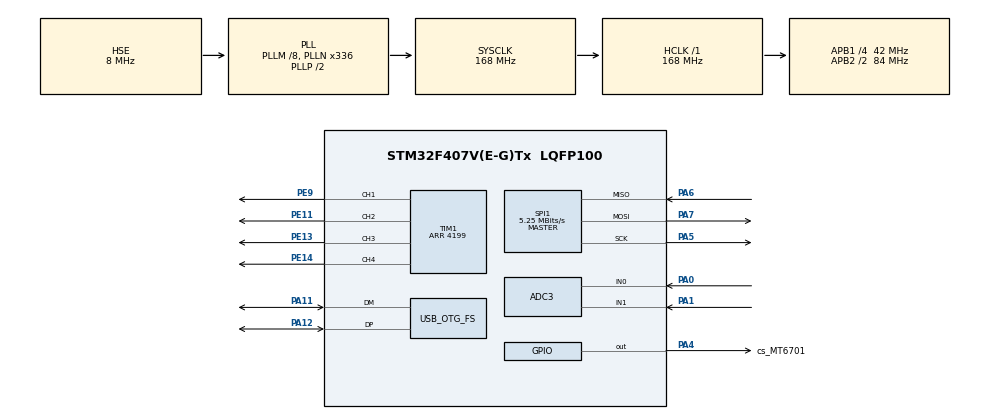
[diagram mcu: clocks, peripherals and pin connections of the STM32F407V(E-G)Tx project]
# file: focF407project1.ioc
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ADC3.Channel-0\#ChannelRegularConversion=ADC_CHANNEL_0
ADC3.Channel-1\#ChannelRegularConversion=ADC_CHANNEL_1
ADC3.DMAContinuousRequests=ENABLE
ADC3.DiscontinuousConvMode=DISABLE
ADC3.ExternalTrigConv=ADC_EXTERNALTRIGCONV_T2_TRGO
ADC3.NbrOfConversion=2
ADC3.NbrOfConversionFlag=1
ADC3.Rank-0\#ChannelRegularConversion=1
ADC3.Rank-1\#ChannelRegularConversion=2
ADC3.SamplingTime-0\#ChannelRegularConversion=ADC_SAMPLETIME_15CYCLES
ADC3.SamplingTime-1\#ChannelRegularConversion=ADC_SAMPLETIME_15CYCLES
ADC3.ScanConvMode=ENABLE
Dma.ADC3.0.Direction=DMA_PERIPH_TO_MEMORY
Dma.ADC3.0.FIFOMode=DMA_FIFOMODE_DISABLE
Dma.ADC3.0.Instance=DMA2_Stream0
Dma.ADC3.0.MemDataAlignment=DMA_MDATAALIGN_HALFWORD
Dma.ADC3.0.MemInc=DMA_MINC_ENABLE
Dma.ADC3.0.Mode=DMA_CIRCULAR
Dma.ADC3.0.PeriphDataAlignment=DMA_PDATAALIGN_HALFWORD
Dma.ADC3.0.PeriphInc=DMA_PINC_DISABLE
Dma.ADC3.0.Priority=DMA_PRIORITY_LOW
Dma.Request0=ADC3
Mcu.Family=STM32F4
Mcu.Name=STM32F407V(E-G)Tx
Mcu.Package=LQFP100
NVIC.DMA2_Stream0_IRQn=true\:0\:0\:false\:false\:true\:false\:true\:true
NVIC.OTG_FS_IRQn=true\:0\:0\:false\:false\:true\:false\:true\:true
NVIC.PriorityGroup=NVIC_PRIORITYGROUP_4
PA0-WKUP.Signal=ADCx_IN0
PA1.Signal=ADCx_IN1
PA11.Mode=Device_Only
PA11.Signal=USB_OTG_FS_DM
PA12.Mode=Device_Only
PA12.Signal=USB_OTG_FS_DP
PA13.Mode=Serial_Wire
PA13.Signal=SYS_JTMS-SWDIO
PA14.Mode=Serial_Wire
PA14.Signal=SYS_JTCK-SWCLK
PA4.GPIO_Label=cs_MT6701
PA4.PinState=GPIO_PIN_SET
PA4.Signal=GPIO_Output
PA5.Mode=Full_Duplex_Master
PA5.Signal=SPI1_SCK
PA6.Mode=Full_Duplex_Master
PA6.Signal=SPI1_MISO
PA7.Mode=Full_Duplex_Master
PA7.Signal=SPI1_MOSI
PE11.Signal=S_TIM1_CH2
PE13.Signal=S_TIM1_CH3
PE14.Signal=S_TIM1_CH4
PE9.Signal=S_TIM1_CH1
PH0-OSC_IN.Mode=HSE-External-Oscillator
PH0-OSC_IN.Signal=RCC_OSC_IN
PH1-OSC_OUT.Mode=HSE-External-Oscillator
PH1-OSC_OUT.Signal=RCC_OSC_OUT
ProjectManager.HeapSize=0x200
ProjectManager.StackSize=0x400
ProjectManager.TargetToolchain=MDK-ARM V5.32
RCC.48MHZClocksFreq_Value=48000000
RCC.AHBFreq_Value=168000000
RCC.APB1CLKDivider=RCC_HCLK_DIV4
RCC.APB1Freq_Value=42000000
RCC.APB1TimFreq_Value=84000000
RCC.APB2CLKDivider=RCC_HCLK_DIV2
RCC.APB2Freq_Value=84000000
RCC.APB2TimFreq_Value=168000000
RCC.CortexFreq_Value=168000000
RCC.HCLKFreq_Value=168000000
RCC.HSE_VALUE=8000000
RCC.HSI_VALUE=16000000
RCC.LSE_VALUE=32768
RCC.PLLM=8
RCC.PLLN=336
RCC.PLLQ=7
RCC.SYSCLKFreq_VALUE=168000000
RCC.SYSCLKSource=RCC_SYSCLKSOURCE_PLLCLK
RCC.VCOOutputFreq_Value=336000000
SH.ADCx_IN0.0=ADC3_IN0,IN0
SH.ADCx_IN1.0=ADC3_IN1,IN1
SH.S_TIM1_CH1.0=TIM1_CH1,PWM Generation1 CH1
SH.S_TIM1_CH2.0=TIM1_CH2,PWM Generation2 CH2
SH.S_TIM1_CH3.0=TIM1_CH3,PWM Generation3 CH3
SH.S_TIM1_CH4.0=TIM1_CH4,PWM Generation4 CH4
SPI1.BaudRatePrescaler=SPI_BAUDRATEPRESCALER_16
SPI1.CalculateBaudRate=5.25 MBits/s
SPI1.Direction=SPI_DIRECTION_2LINES
SPI1.Mode=SPI_MODE_MASTER
SPI1.VirtualType=VM_MASTER
TIM1.AutomaticOutput=TIM_AUTOMATICOUTPUT_ENABLE
TIM1.Channel-PWM\ Generation1\ CH1=TIM_CHANNEL_1
TIM1.Channel-PWM\ Generation2\ CH2=TIM_CHANNEL_2
TIM1.Channel-PWM\ Generation3\ CH3=TIM_CHANNEL_3
TIM1.Channel-PWM\ Generation4\ CH4=TIM_CHANNEL_4
TIM1.CounterMode=TIM_COUNTERMODE_CENTERALIGNED1
TIM1.OCMode_PWM-PWM\ Generation4\ CH4=TIM_OCMODE_PWM2
TIM1.OffStateIDLEMode=TIM_OSSI_ENABLE
TIM1.OffStateRunMode=TIM_OSSR_ENABLE
TIM1.Period=4199
TIM1.Pulse-PWM\ Generation1\ CH1=2100
TIM1.Pulse-PWM\ Generation2\ CH2=2100
TIM1.Pulse-PWM\ Generation4\ CH4=3800
TIM1.RepetitionCounter=1
TIM1.TIM_MasterOutputTrigger=TIM_TRGO_OC4REF
TIM2.Period=3799
TIM2.TIM_MasterOutputTrigger=TIM_TRGO_UPDATE
USB_DEVICE.CLASS_NAME_FS=CDC
USB_DEVICE.VirtualMode-CDC_FS=Cdc
USB_DEVICE.VirtualModeFS=Cdc_FS
USB_OTG_FS.VirtualMode=Device_Only
VP_TIM2_VS_ClockSourceINT.Mode=Internal
VP_TIM2_VS_ClockSourceITR.Mode=TriggerSource_ITR0
VP_TIM2_VS_ControllerModeTrigger.Mode=Trigger Mode
VP_TIM2_VS_OPM.Mode=OPM_bit
VP_USB_DEVICE_VS_USB_DEVICE_CDC_FS.Mode=CDC_FS
board=custom

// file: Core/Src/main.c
/* USER CODE BEGIN Header */

/* USER CODE END Header */

#include "main.h"
#include "usb_device.h"

/* USER CODE BEGIN Includes */
#include "foc.h"
#include "Vofa.h"
#include "encoder.h"
#include "ADCcurrent.h"
#include "cascade.h"
#include "phase_map_diag.h"
#include "angle_lock_diag.h"
#include "speed_diag_channels.h"
#include <math.h>

/* USER CODE END Includes */

/* USER CODE BEGIN PD */

#define ENC_TEST_MODE        0

/* 旧版：#define PHASE_MAP_TEST_MODE 1，PWM与电流采样相序已经确认正确。 */
#define PHASE_MAP_TEST_MODE  0

/* 旧版：#define ANGLE_LOCK_TEST_MODE 1，四点锁定已确认极对数和方向正确。 */
#define ANGLE_LOCK_TEST_MODE 0

#define USE_CASCADE_LOOP     1

/* 旧版：#define USE_SPEED_CURRENT_LOOP 0，用于0.40A纯电流1秒测试。 */
#define USE_SPEED_CURRENT_LOOP 0

/* 旧版：#define USE_CURRENT_LOOP 1，用于0.40A纯电流1秒测试。 */
#define USE_CURRENT_LOOP     0
#define USE_SPEED_LOOP       0
#define USE_POSITION_LOOP    0

#define TARGET_ANGLE_DEG     300.0f
#define DEG_TO_RAD           0.0174533f

#define TARGET_ID             0.0f

/* 旧版：#define TARGET_IQ 0.35f */
#define TARGET_IQ             0.44f
#define CURRENT_TEST_TIMEOUT_TICKS 20000U

/* 旧版：#define TARGET_SPEED 1.0f，低速摩擦和速度估算影响明显。 */
#define TARGET_SPEED          15.0f
#define TARGET_ANGLE          5.70f

/* 旧版：#define SPEED_RAMP_ENABLE 1，会先经过1rad/s和2rad/s。 */
#define SPEED_RAMP_ENABLE     0

#define SPEED_RAMP_STEP       1.0f
#define SPEED_RAMP_INTERVAL   500U

#define VOFA_PERIOD_MS        5U
#define VOFA_USE_TEXT         0

#define OFFSET_STEP           0.04f
#define OFFSET_INTERVAL       100U
#define CAL_VOLTAGE_START     0.10f
#define CAL_VOLTAGE_STEP      0.05f
#define CAL_VOLTAGE_MAX       1.50f
#define CAL_VOLTAGE_INTERVAL  500U
#define MOVE_THRESHOLD        0.05f

#define CURRENT_TEST_MODE    1

#define CURRENT_ZERO_VOLT    1.65f

#define CURRENT_V_PER_AMP    0.5f

#define POSITION_SWEEP        0

/* USER CODE END PD */

ADC_HandleTypeDef hadc3;
DMA_HandleTypeDef hdma_adc3;

SPI_HandleTypeDef hspi1;

TIM_HandleTypeDef htim1;
TIM_HandleTypeDef htim2;

/* USER CODE BEGIN PV */

/* 旧版相序诊断状态保留，仅在重新启用该模式时参与编译。 */
#if PHASE_MAP_TEST_MODE
static uint32_t g_phase_map_start_tick = 0U;
static phase_map_diag_output_t g_phase_map_output;
#endif
/* 旧版角度锁定诊断状态保留，仅在重新启用该模式时参与编译。 */
#if ANGLE_LOCK_TEST_MODE
static uint32_t g_angle_lock_start_tick = 0U;
static angle_lock_diag_output_t g_angle_lock_output;
#endif

/*
 * 旧版：volatile float g_target_speed = 0.0f;
 * 问题：关闭速度阶梯后仍要等500ms才设定目标，对齐后会中断转矩。
 * 新版：关闭阶梯时上电直接使用TARGET_SPEED。
 */
#if SPEED_RAMP_ENABLE == 0
volatile float g_target_speed = TARGET_SPEED;
#else
volatile float g_target_speed = 0.0f;
#endif
volatile float g_target_angle = TARGET_ANGLE;
volatile float g_cal_voltage  = CAL_VOLTAGE_START;
volatile float g_cal_offset   = 0.0f;
/* USER CODE END PV */

void SystemClock_Config(void);
static void MX_GPIO_Init(void);
static void MX_DMA_Init(void);
static void MX_TIM1_Init(void);
static void MX_SPI1_Init(void);
static void MX_ADC3_Init(void);
static void MX_TIM2_Init(void);

int main(void)
{

  HAL_Init();

  SystemClock_Config();

  MX_GPIO_Init();
  MX_DMA_Init();
  MX_TIM1_Init();
  MX_USB_DEVICE_Init();
  MX_SPI1_Init();
  MX_ADC3_Init();
  MX_TIM2_Init();
  /* USER CODE BEGIN 2 */

  HAL_TIM_Base_Start(&htim1);

  HAL_TIM_Base_Start(&htim2);

  current_calibrate();

  cascade_init();

#if ENC_TEST_MODE != 1
  HAL_TIM_PWM_Start(&htim1, TIM_CHANNEL_1);
  HAL_TIM_PWM_Start(&htim1, TIM_CHANNEL_2);
  HAL_TIM_PWM_Start(&htim1, TIM_CHANNEL_3);
#endif

  __HAL_TIM_SET_COMPARE(&htim1, TIM_CHANNEL_1, 2100);
  __HAL_TIM_SET_COMPARE(&htim1, TIM_CHANNEL_2, 2100);
  __HAL_TIM_SET_COMPARE(&htim1, TIM_CHANNEL_3, 2100);

  vofa_init();
  encoder_init();

#if PHASE_MAP_TEST_MODE
  /*
   * === 旧版：上电后立即执行FOC对齐和闭环准备 ===
   * 问题：相序诊断时闭环输出会覆盖低压短脉冲。
   * === 新版：诊断模式只初始化FOC状态，不对齐、不输出闭环 ===
   */
  foc_init();
  g_phase_map_start_tick = HAL_GetTick();
#elif ANGLE_LOCK_TEST_MODE
  /*
   * === 旧版：执行FOC对齐后进入速度电流环 ===
   * 问题：不能独立观察每增加90度电角度时的机械角变化。
   * === 新版：只初始化FOC，由主循环输出低压静态电角度 ===
   */
  foc_init();
  g_angle_lock_start_tick = HAL_GetTick();
#elif ENC_TEST_MODE == 0
  foc_init();
  foc_align();
  HAL_Delay(500);
#else

  foc_init();
#if ENC_TEST_MODE == 2

  foc_align();
  HAL_Delay(500);
#endif
#endif

#if (ENC_TEST_MODE != 1) && !PHASE_MAP_TEST_MODE && !ANGLE_LOCK_TEST_MODE
  HAL_NVIC_SetPriority(TIM1_UP_TIM10_IRQn, 1, 0);
  HAL_NVIC_EnableIRQ(TIM1_UP_TIM10_IRQn);
  __HAL_TIM_ENABLE_IT(&htim1, TIM_IT_UPDATE);
#endif

  /* USER CODE END 2 */

  while (1)
  {

    /* USER CODE BEGIN 3 */

#if PHASE_MAP_TEST_MODE
    g_phase_map_output = phase_map_diag_get_output(HAL_GetTick()
                                                 - g_phase_map_start_tick);
    __HAL_TIM_SET_COMPARE(&htim1, TIM_CHANNEL_1,
                          (uint32_t)(g_phase_map_output.duty_a * PWM_ARR));
    __HAL_TIM_SET_COMPARE(&htim1, TIM_CHANNEL_2,
                          (uint32_t)(g_phase_map_output.duty_b * PWM_ARR));
    __HAL_TIM_SET_COMPARE(&htim1, TIM_CHANNEL_3,
                          (uint32_t)(g_phase_map_output.duty_c * PWM_ARR));
#elif ANGLE_LOCK_TEST_MODE
    g_angle_lock_output = angle_lock_diag_get_output(HAL_GetTick()
                                                    - g_angle_lock_start_tick);
    if (g_angle_lock_output.active)
    {
      foc_static(g_angle_lock_output.target_angle,
                 g_angle_lock_output.voltage_q);
    }
    else
    {
      foc_stop();
    }
#endif

#if ENC_TEST_MODE == 0
    static uint32_t tick_ramp = 0;
    if (HAL_GetTick() - tick_ramp >= SPEED_RAMP_INTERVAL)
    {
      tick_ramp = HAL_GetTick();
      if (TARGET_SPEED >= 0.0f)
      {
      #if SPEED_RAMP_ENABLE == 0
  g_target_speed = TARGET_SPEED;
#else
  if (g_target_speed < TARGET_SPEED) { g_target_speed += SPEED_RAMP_STEP; }
        if (g_target_speed > TARGET_SPEED) { g_target_speed = TARGET_SPEED; }
#endif
      }
      else
      {
        if (g_target_speed > TARGET_SPEED) { g_target_speed -= SPEED_RAMP_STEP; }
        if (g_target_speed < TARGET_SPEED) { g_target_speed = TARGET_SPEED; }
      }
    }
#endif

/*
 * === 误插入版本（已弃用）===
 * 问题：此处位于VOFA数组声明之前，导致vofa_channel未定义。
 */

#if ENC_TEST_MODE == 3

    {
      static uint32_t tick_cal          = 0;
      static float    s_angle_start   = 0.0f;
      static uint8_t  s_first = 1;
      static uint8_t  s_moved        = 0;
      float    angle_now = encoder_read_mech();

      if (s_first)
      {
        s_angle_start   = angle_now;
        s_first = 0;
      }
      else
      {

        float delta = angle_now - s_angle_start;
        if (delta >  ENC_PI) { delta -= ENC_TWO_PI; }
        if (delta < -ENC_PI) { delta += ENC_TWO_PI; }

        if (delta > MOVE_THRESHOLD || delta < -MOVE_THRESHOLD)
        {
          s_moved = 1;
        }
      }

      if (!s_moved)
      {
        if (HAL_GetTick() - tick_cal >= CAL_VOLTAGE_INTERVAL)
        {
          tick_cal = HAL_GetTick();
          if (g_cal_voltage < CAL_VOLTAGE_MAX)
          {
            g_cal_voltage += CAL_VOLTAGE_STEP;
            if (g_cal_voltage > CAL_VOLTAGE_MAX) { g_cal_voltage = CAL_VOLTAGE_MAX; }
          }
        }
      }
    }
#endif

#if ENC_TEST_MODE == 4

    {
      static uint32_t tick_offset = 0;
      if (HAL_GetTick() - tick_offset >= OFFSET_INTERVAL)
      {
        tick_offset = HAL_GetTick();
        g_cal_offset += OFFSET_STEP;
        if (g_cal_offset >= ENC_TWO_PI) { g_cal_offset -= ENC_TWO_PI; }
        foc_set_offset_trim(g_cal_offset);
      }
    }
#endif

#if (ENC_TEST_MODE == 0) && USE_POSITION_LOOP

#if POSITION_SWEEP
    {
      static const float  s_targets[] = { 5.80f, 5.20f, 4.60f, 5.20f };
      static uint8_t      s_index     = 0;
      static uint32_t     tick_step      = 0;

      if (HAL_GetTick() - tick_step >= 2500U)
      {
        tick_step      = HAL_GetTick();
        s_index     = (uint8_t)((s_index + 1) % 4U);
        g_target_angle = s_targets[s_index];
      }
    }
#endif
#endif

    static uint32_t tick_vofa = 0;
    if (HAL_GetTick() - tick_vofa >= VOFA_PERIOD_MS)
    {
      tick_vofa = HAL_GetTick();

      float vofa_channel[7];

#if PHASE_MAP_TEST_MODE
      {
        float current_a;
        float current_b;
        float current_c;

        current_read(&current_a, &current_b, &current_c);

        vofa_channel[0] = (float)g_phase_map_output.step;
        vofa_channel[1] = current_a;
        vofa_channel[2] = current_b;
        vofa_channel[3] = current_c;
        vofa_channel[4] = g_phase_map_output.duty_a;
        vofa_channel[5] = g_phase_map_output.duty_b;
        vofa_channel[6] = g_phase_map_output.duty_c;
      }
#elif ANGLE_LOCK_TEST_MODE
      {
        float angle_mech;
        float measured_elec;

        /*
         * === 旧版：读取g_encoder_dbg.angle_mech（已弃用）===
         * 问题：角度锁定模式关闭了FOC中断，encoder_update()不再刷新该变量，
         *       导致CH2恒为0、CH3恒为偏移角。
         * === 新版：每个VOFA周期直接读取一次编码器 ===
         */
        /* 使用与闭环相同的突跳拒绝路径，再读取已接受的机械角。 */
        encoder_update();
        angle_mech = g_encoder_dbg.angle_mech;
        measured_elec = angle_lock_diag_measured_elec(angle_mech,
                                                       (float)FOC_POLE_PAIRS,
                                                       ENC_ELEC_DIR,
                                                       ENC_ELEC_OFFSET);

        vofa_channel[0] = (float)g_angle_lock_output.step;
        vofa_channel[1] = g_angle_lock_output.target_angle * 57.2957795f;
        vofa_channel[2] = angle_mech * 57.2957795f;
        vofa_channel[3] = measured_elec * 57.2957795f;
        /* 旧版读取调试缓存；断流后缓存仍保留最后一次占空比。 */
        vofa_channel[4] = (float)g_encoder_dbg.jump_reject_count;
        vofa_channel[5] = (float)__HAL_TIM_GET_COMPARE(&htim1, TIM_CHANNEL_2)
                        / PWM_ARR;
        vofa_channel[6] = (float)__HAL_TIM_GET_COMPARE(&htim1, TIM_CHANNEL_3)
                        / PWM_ARR;
      }
#elif ENC_TEST_MODE == 3

      {
        uint16_t raw_data    = encoder_read_raw();
        uint16_t angle_count  = (uint16_t)(raw_data >> ENC_ANGLE_SHIFT);
        float    angle_mech     = (float)angle_count * ENC_TWO_PI / ENC_COUNTS_PER_REV;
        float    angle     = angle_mech * (float)ENC_POLE_PAIRS * ENC_ELEC_DIR;
        float    offset_now;

        while (angle >= ENC_TWO_PI) { angle -= ENC_TWO_PI; }

        offset_now = FOC_ALIGN_THETA + ENC_HALF_PI - angle;
        while (offset_now <  0.0f)       { offset_now += ENC_TWO_PI; }
        while (offset_now >= ENC_TWO_PI) { offset_now -= ENC_TWO_PI; }

        vofa_channel[0] = g_cal_voltage;
        vofa_channel[1] = angle_mech;
        vofa_channel[2] = offset_now;
        vofa_channel[3] = (float)angle_count;
        vofa_channel[4] = 0.0f;
        vofa_channel[5] = 0.0f;
        vofa_channel[6] = 0.0f;
      }
#elif ENC_TEST_MODE == 4

      vofa_channel[0] = g_cal_offset;
      vofa_channel[1] = g_foc_dbg.angle_mech;
      vofa_channel[2] = g_foc_dbg.error_pos;
      vofa_channel[3] = g_foc_dbg.voltage_q;
      vofa_channel[4] = g_foc_dbg.duty_a;
      vofa_channel[5] = g_foc_dbg.duty_b;
      vofa_channel[6] = g_foc_dbg.duty_c;
#elif ENC_TEST_MODE != 0

      {
        uint16_t raw_data    = encoder_read_raw();
        uint16_t angle_count  = (uint16_t)(raw_data >> ENC_ANGLE_SHIFT);

        float    angle_mech = (float)angle_count * ENC_TWO_PI
                            / ENC_COUNTS_PER_REV * ENC_DIR;
        float    angle;
        float    offset_hint;

        while (angle_mech >= ENC_TWO_PI) { angle_mech -= ENC_TWO_PI; }
        while (angle_mech <  0.0f)       { angle_mech += ENC_TWO_PI; }

        angle = angle_mech * (float)ENC_POLE_PAIRS * ENC_ELEC_DIR;
        while (angle >= ENC_TWO_PI) { angle -= ENC_TWO_PI; }
        while (angle <  0.0f)       { angle += ENC_TWO_PI; }

        offset_hint = FOC_ALIGN_THETA + ENC_HALF_PI - angle;
        while (offset_hint <  0.0f)        { offset_hint += ENC_TWO_PI; }
        while (offset_hint >= ENC_TWO_PI)  { offset_hint -= ENC_TWO_PI; }

        vofa_channel[0] = angle_mech;
        vofa_channel[1] = angle;
        vofa_channel[2] = (float)raw_data;
        vofa_channel[3] = (float)angle_count;
        vofa_channel[4] = offset_hint;
        vofa_channel[5] = 0.0f;
        vofa_channel[6] = 0.0f;
      }
#else
#if USE_SPEED_LOOP

      vofa_channel[0] = g_foc_dbg.target;
      vofa_channel[1] = g_encoder_dbg.speed;
      vofa_channel[2] = g_foc_dbg.error_pos;
      vofa_channel[3] = g_foc_dbg.voltage_q;
      vofa_channel[4] = g_foc_dbg.duty_a;
      vofa_channel[5] = g_foc_dbg.duty_b;
      vofa_channel[6] = g_foc_dbg.duty_c;
#elif USE_POSITION_LOOP

      vofa_channel[0] = g_foc_dbg.target;
      vofa_channel[1] = g_foc_dbg.angle_mech;
      vofa_channel[2] = g_foc_dbg.error_pos;
      vofa_channel[3] = g_foc_dbg.voltage_q;
      vofa_channel[4] = g_foc_dbg.duty_a;
      vofa_channel[5] = g_foc_dbg.duty_b;
      vofa_channel[6] = g_foc_dbg.duty_c;
#else

      {
        static float    s_last_angle  = 0.0f;
        static uint32_t s_last_tick = 0;
        static float    s_speed = 0.0f;
        float    angle_now  = encoder_read_mech();
        uint32_t tick_now  = HAL_GetTick();
        float    speed;

        if (s_last_tick != 0 && tick_now != s_last_tick)
        {
          float delta_angle = angle_now - s_last_angle;
          float dt    = (float)(tick_now - s_last_tick) * 0.001f;
          float speed_instant;

          if (delta_angle >  ENC_PI) { delta_angle -= ENC_TWO_PI; }
          if (delta_angle < -ENC_PI) { delta_angle += ENC_TWO_PI; }

          speed_instant = delta_angle / dt;

          if (speed_instant > 15.0f || speed_instant < -15.0f)
          {
            speed_instant = s_speed;
          }

          s_speed += (speed_instant - s_speed) * (dt / 0.5f);
        }

        s_last_angle  = angle_now;
        s_last_tick = tick_now;
        speed        = s_speed;

        vofa_channel[0] = g_target_speed;
        vofa_channel[1] = speed;

        {

          float offset_now = g_foc_dbg.angle + ENC_HALF_PI
                           - (float)ENC_POLE_PAIRS * angle_now * ENC_ELEC_DIR;
          while (offset_now <  0.0f)       { offset_now += ENC_TWO_PI; }
          while (offset_now >= ENC_TWO_PI) { offset_now -= ENC_TWO_PI; }
          vofa_channel[2] = offset_now;
        }
        vofa_channel[3] = g_foc_dbg.voltage_q;
        vofa_channel[4] = g_foc_dbg.duty_a;
        vofa_channel[5] = g_foc_dbg.duty_b;
        vofa_channel[6] = g_foc_dbg.duty_c;
      }
#endif
#endif

/* 旧版：#if CURRENT_TEST_MODE && !PHASE_MAP_TEST_MODE，会覆盖角度锁定诊断通道。 */
#if CURRENT_TEST_MODE && !PHASE_MAP_TEST_MODE && !ANGLE_LOCK_TEST_MODE
    {
      static uint32_t tick_current = 0;
      static float    current_a    = 0.0f;
      static float    current_b    = 0.0f;
      static float    current_c    = 0.0f;

      if (HAL_GetTick() - tick_current >= 5)
      {
        uint32_t tick_wait = HAL_GetTick();

        tick_current = HAL_GetTick();

        while (__HAL_TIM_GET_COUNTER(&htim1) < 3800)
        {
          if (HAL_GetTick() - tick_wait > 2)
          {
            break;
          }
        }

        current_read(&current_a, &current_b, &current_c);
      }

      {
        float elec = g_encoder_dbg.angle_mech * (float)FOC_POLE_PAIRS * ENC_ELEC_DIR
                   + ENC_ELEC_OFFSET;
        float c, sn, i_alpha, i_beta, id_now, iq_now;

        while (elec >= 6.28318530f) { elec -= 6.28318530f; }
        while (elec <  0.0f)        { elec += 6.28318530f; }

        c  = cosf(elec);
        sn = sinf(elec);

        i_alpha = current_a;
        i_beta  = (current_a + 2.0f * current_b) * 0.57735f;

        id_now =  i_alpha * c + i_beta * sn;
        iq_now = -i_alpha * sn + i_beta * c;

        vofa_channel[4] = id_now;
        vofa_channel[5] = iq_now;
      }

      vofa_channel[0] = g_foc_dbg.current_q_ref;
      vofa_channel[1] = g_foc_dbg.current_q;
      vofa_channel[2] = g_foc_dbg.current_d;
      vofa_channel[3] = g_foc_dbg.voltage_q;
      vofa_channel[4] = g_encoder_dbg.angle_mech * 57.2958f;
      vofa_channel[6] = g_encoder_dbg.speed;

#if USE_SPEED_CURRENT_LOOP

      /*
       * === 旧版：三相电流与电角度诊断通道（已暂停使用）===
       * 问题：恢复速度环后无法同时观察目标速度、实测速度和异常帧计数。
       * === 新版：速度环与编码器诊断通道 ===
       */
      speed_diag_map_channels(vofa_channel,
                              g_target_speed,
                              g_encoder_dbg.speed,
                              cascade_get_iq_cmd(),
                              g_foc_dbg.current_q,
                              g_foc_dbg.current_d,
                              g_encoder_dbg.jump_reject_count,
                              g_foc_dbg.voltage_q);
#if USE_CASCADE_LOOP
      vofa_channel[0] = TARGET_ANGLE_DEG;
      vofa_channel[1] = g_encoder_dbg.angle_mech * 57.29578f;
      vofa_channel[2] = cascade_get_error_pos();
      vofa_channel[3] = cascade_get_v_cmd();
      vofa_channel[4] = cascade_get_iq_cmd();
      vofa_channel[5] = g_encoder_dbg.speed;
      vofa_channel[6] = g_foc_dbg.current_q;
#endif
#endif
    }
#endif

#if VOFA_USE_TEXT

      (void)vofa_send_text(vofa_channel, 7);
#else

      vofa_begin();
      vofa_put(vofa_channel[0]);
      vofa_put(vofa_channel[1]);
      vofa_put(vofa_channel[2]);
      vofa_put(vofa_channel[3]);
      vofa_put(vofa_channel[4]);
      vofa_put(vofa_channel[5]);
      vofa_put(vofa_channel[6]);
      (void)vofa_end();
#endif
    }
  }
  /* USER CODE END 3 */
}

void SystemClock_Config(void)
{
  RCC_OscInitTypeDef RCC_OscInitStruct = {0};
  RCC_ClkInitTypeDef RCC_ClkInitStruct = {0};

  __HAL_RCC_PWR_CLK_ENABLE();
  __HAL_PWR_VOLTAGESCALING_CONFIG(PWR_REGULATOR_VOLTAGE_SCALE1);

  RCC_OscInitStruct.OscillatorType = RCC_OSCILLATORTYPE_HSE;
  RCC_OscInitStruct.HSEState = RCC_HSE_ON;
  RCC_OscInitStruct.PLL.PLLState = RCC_PLL_ON;
  RCC_OscInitStruct.PLL.PLLSource = RCC_PLLSOURCE_HSE;
  RCC_OscInitStruct.PLL.PLLM = 8;
  RCC_OscInitStruct.PLL.PLLN = 336;
  RCC_OscInitStruct.PLL.PLLP = RCC_PLLP_DIV2;
  RCC_OscInitStruct.PLL.PLLQ = 7;
  if (HAL_RCC_OscConfig(&RCC_OscInitStruct) != HAL_OK)
  {
    Error_Handler();
  }

  RCC_ClkInitStruct.ClockType = RCC_CLOCKTYPE_HCLK|RCC_CLOCKTYPE_SYSCLK
                              |RCC_CLOCKTYPE_PCLK1|RCC_CLOCKTYPE_PCLK2;
  RCC_ClkInitStruct.SYSCLKSource = RCC_SYSCLKSOURCE_PLLCLK;
  RCC_ClkInitStruct.AHBCLKDivider = RCC_SYSCLK_DIV1;
  RCC_ClkInitStruct.APB1CLKDivider = RCC_HCLK_DIV4;
  RCC_ClkInitStruct.APB2CLKDivider = RCC_HCLK_DIV2;

  if (HAL_RCC_ClockConfig(&RCC_ClkInitStruct, FLASH_LATENCY_5) != HAL_OK)
  {
    Error_Handler();
  }
}

static void MX_ADC3_Init(void)
{

  ADC_ChannelConfTypeDef sConfig = {0};

  hadc3.Instance = ADC3;
  hadc3.Init.ClockPrescaler = ADC_CLOCK_SYNC_PCLK_DIV4;
  hadc3.Init.Resolution = ADC_RESOLUTION_12B;
  hadc3.Init.ScanConvMode = ENABLE;
  hadc3.Init.ContinuousConvMode = DISABLE;
  hadc3.Init.DiscontinuousConvMode = DISABLE;
  hadc3.Init.ExternalTrigConvEdge = ADC_EXTERNALTRIGCONVEDGE_RISING;
  hadc3.Init.ExternalTrigConv = ADC_EXTERNALTRIGCONV_T2_TRGO;
  hadc3.Init.DataAlign = ADC_DATAALIGN_RIGHT;
  hadc3.Init.NbrOfConversion = 2;
  hadc3.Init.DMAContinuousRequests = ENABLE;
  hadc3.Init.EOCSelection = ADC_EOC_SINGLE_CONV;
  if (HAL_ADC_Init(&hadc3) != HAL_OK)
  {
    Error_Handler();
  }

  sConfig.Channel = ADC_CHANNEL_0;
  sConfig.Rank = 1;
  sConfig.SamplingTime = ADC_SAMPLETIME_15CYCLES;
  if (HAL_ADC_ConfigChannel(&hadc3, &sConfig) != HAL_OK)
  {
    Error_Handler();
  }

  sConfig.Channel = ADC_CHANNEL_1;
  sConfig.Rank = 2;
  if (HAL_ADC_ConfigChannel(&hadc3, &sConfig) != HAL_OK)
  {
    Error_Handler();
  }

}

static void MX_SPI1_Init(void)
{

  hspi1.Instance = SPI1;
  hspi1.Init.Mode = SPI_MODE_MASTER;
  hspi1.Init.Direction = SPI_DIRECTION_2LINES;
  hspi1.Init.DataSize = SPI_DATASIZE_8BIT;
  hspi1.Init.CLKPolarity = SPI_POLARITY_LOW;
  hspi1.Init.CLKPhase = SPI_PHASE_1EDGE;
  hspi1.Init.NSS = SPI_NSS_SOFT;
  hspi1.Init.BaudRatePrescaler = SPI_BAUDRATEPRESCALER_16;
  hspi1.Init.FirstBit = SPI_FIRSTBIT_MSB;
  hspi1.Init.TIMode = SPI_TIMODE_DISABLE;
  hspi1.Init.CRCCalculation = SPI_CRCCALCULATION_DISABLE;
  hspi1.Init.CRCPolynomial = 10;
  if (HAL_SPI_Init(&hspi1) != HAL_OK)
  {
    Error_Handler();
  }

}

static void MX_TIM1_Init(void)
{

  TIM_MasterConfigTypeDef sMasterConfig = {0};
  TIM_OC_InitTypeDef sConfigOC = {0};
  TIM_BreakDeadTimeConfigTypeDef sBreakDeadTimeConfig = {0};

  htim1.Instance = TIM1;
  htim1.Init.Prescaler = 0;
  htim1.Init.CounterMode = TIM_COUNTERMODE_CENTERALIGNED1;
  htim1.Init.Period = 4199;
  htim1.Init.ClockDivision = TIM_CLOCKDIVISION_DIV1;
  htim1.Init.RepetitionCounter = 1;
  htim1.Init.AutoReloadPreload = TIM_AUTORELOAD_PRELOAD_DISABLE;
  if (HAL_TIM_PWM_Init(&htim1) != HAL_OK)
  {
    Error_Handler();
  }
  sMasterConfig.MasterOutputTrigger = TIM_TRGO_OC4REF;
  sMasterConfig.MasterSlaveMode = TIM_MASTERSLAVEMODE_DISABLE;
  if (HAL_TIMEx_MasterConfigSynchronization(&htim1, &sMasterConfig) != HAL_OK)
  {
    Error_Handler();
  }
  sConfigOC.OCMode = TIM_OCMODE_PWM1;
  sConfigOC.Pulse = 2100;
  sConfigOC.OCPolarity = TIM_OCPOLARITY_HIGH;
  sConfigOC.OCNPolarity = TIM_OCNPOLARITY_HIGH;
  sConfigOC.OCFastMode = TIM_OCFAST_DISABLE;
  sConfigOC.OCIdleState = TIM_OCIDLESTATE_RESET;
  sConfigOC.OCNIdleState = TIM_OCNIDLESTATE_RESET;
  if (HAL_TIM_PWM_ConfigChannel(&htim1, &sConfigOC, TIM_CHANNEL_1) != HAL_OK)
  {
    Error_Handler();
  }
  if (HAL_TIM_PWM_ConfigChannel(&htim1, &sConfigOC, TIM_CHANNEL_2) != HAL_OK)
  {
    Error_Handler();
  }
  sConfigOC.Pulse = 0;
  if (HAL_TIM_PWM_ConfigChannel(&htim1, &sConfigOC, TIM_CHANNEL_3) != HAL_OK)
  {
    Error_Handler();
  }
  sConfigOC.OCMode = TIM_OCMODE_PWM2;
  sConfigOC.Pulse = 3800;
  if (HAL_TIM_PWM_ConfigChannel(&htim1, &sConfigOC, TIM_CHANNEL_4) != HAL_OK)
  {
    Error_Handler();
  }
  sBreakDeadTimeConfig.OffStateRunMode = TIM_OSSR_ENABLE;
  sBreakDeadTimeConfig.OffStateIDLEMode = TIM_OSSI_ENABLE;
  sBreakDeadTimeConfig.LockLevel = TIM_LOCKLEVEL_OFF;
  sBreakDeadTimeConfig.DeadTime = 0;
  sBreakDeadTimeConfig.BreakState = TIM_BREAK_DISABLE;
  sBreakDeadTimeConfig.BreakPolarity = TIM_BREAKPOLARITY_HIGH;
  sBreakDeadTimeConfig.AutomaticOutput = TIM_AUTOMATICOUTPUT_ENABLE;
  if (HAL_TIMEx_ConfigBreakDeadTime(&htim1, &sBreakDeadTimeConfig) != HAL_OK)
  {
    Error_Handler();
  }

  HAL_TIM_MspPostInit(&htim1);

}

static void MX_TIM2_Init(void)
{

  TIM_ClockConfigTypeDef sClockSourceConfig = {0};
  TIM_SlaveConfigTypeDef sSlaveConfig = {0};
  TIM_MasterConfigTypeDef sMasterConfig = {0};

  htim2.Instance = TIM2;
  htim2.Init.Prescaler = 0;
  htim2.Init.CounterMode = TIM_COUNTERMODE_UP;
  htim2.Init.Period = 3799;
  htim2.Init.ClockDivision = TIM_CLOCKDIVISION_DIV1;
  htim2.Init.AutoReloadPreload = TIM_AUTORELOAD_PRELOAD_DISABLE;
  if (HAL_TIM_Base_Init(&htim2) != HAL_OK)
  {
    Error_Handler();
  }
  sClockSourceConfig.ClockSource = TIM_CLOCKSOURCE_INTERNAL;
  if (HAL_TIM_ConfigClockSource(&htim2, &sClockSourceConfig) != HAL_OK)
  {
    Error_Handler();
  }
  if (HAL_TIM_OnePulse_Init(&htim2, TIM_OPMODE_SINGLE) != HAL_OK)
  {
    Error_Handler();
  }
  sSlaveConfig.SlaveMode = TIM_SLAVEMODE_TRIGGER;
  sSlaveConfig.InputTrigger = TIM_TS_ITR0;
  if (HAL_TIM_SlaveConfigSynchro(&htim2, &sSlaveConfig) != HAL_OK)
  {
    Error_Handler();
  }
  sMasterConfig.MasterOutputTrigger = TIM_TRGO_UPDATE;
  sMasterConfig.MasterSlaveMode = TIM_MASTERSLAVEMODE_DISABLE;
  if (HAL_TIMEx_MasterConfigSynchronization(&htim2, &sMasterConfig) != HAL_OK)
  {
    Error_Handler();
  }

}

static void MX_DMA_Init(void)
{

  __HAL_RCC_DMA2_CLK_ENABLE();

  HAL_NVIC_SetPriority(DMA2_Stream0_IRQn, 0, 0);
  HAL_NVIC_EnableIRQ(DMA2_Stream0_IRQn);

}

static void MX_GPIO_Init(void)
{
  GPIO_InitTypeDef GPIO_InitStruct = {0};

  __HAL_RCC_GPIOH_CLK_ENABLE();
  __HAL_RCC_GPIOA_CLK_ENABLE();
  __HAL_RCC_GPIOE_CLK_ENABLE();

  HAL_GPIO_WritePin(cs_MT6701_GPIO_Port, cs_MT6701_Pin, GPIO_PIN_SET);

  GPIO_InitStruct.Pin = cs_MT6701_Pin;
  GPIO_InitStruct.Mode = GPIO_MODE_OUTPUT_PP;
  GPIO_InitStruct.Pull = GPIO_NOPULL;
  GPIO_InitStruct.Speed = GPIO_SPEED_FREQ_LOW;
  HAL_GPIO_Init(cs_MT6701_GPIO_Port, &GPIO_InitStruct);

}

/* USER CODE BEGIN 4 */

void TIM1_UP_TIM10_IRQHandler(void)
{
  HAL_TIM_IRQHandler(&htim1);
}

void HAL_TIM_PeriodElapsedCallback(TIM_HandleTypeDef *htim)
{
  if (htim->Instance == TIM1)
  {

    __HAL_TIM_ENABLE(&htim2);

#if ENC_TEST_MODE == 3
    foc_static(FOC_ALIGN_THETA, g_cal_voltage);
#elif ENC_TEST_MODE == 4
    foc_close_position(g_target_angle);
#elif ENC_TEST_MODE == 2

    ;
#elif USE_CASCADE_LOOP
    cascade_position(TARGET_ANGLE_DEG * DEG_TO_RAD);
#elif USE_SPEED_CURRENT_LOOP
    cascade_speed(g_target_speed);
#elif USE_CURRENT_LOOP
/*
 * === 旧版：固定电流持续输出（已弃用）===
 * 问题：电机停转时会长时间堵转发热。
 * === 新版：0.40A只输出1秒，之后自动归零 ===
 */
    foc_close_current(TARGET_IQ, TARGET_ID);
#elif USE_SPEED_LOOP
    foc_close_speed(g_target_speed);
#elif USE_POSITION_LOOP
    foc_close_position(g_target_angle);
#else
    foc_open(g_target_speed);
#endif
  }
}

/* USER CODE END 4 */

void Error_Handler(void)
{
  __disable_irq();
  while (1)
  {
  }
}
